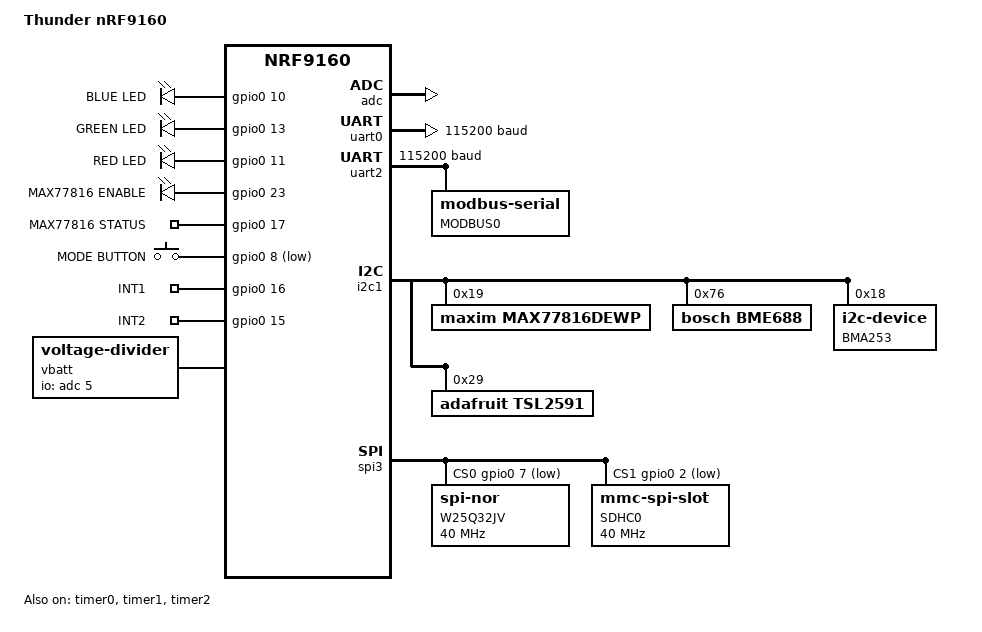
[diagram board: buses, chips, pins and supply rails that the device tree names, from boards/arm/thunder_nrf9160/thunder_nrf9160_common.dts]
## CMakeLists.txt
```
#
# Copyright (c) 2020 Nordic Semiconductor
#
# SPDX-License-Identifier: LicenseRef-Nordic-5-Clause
#

cmake_minimum_required(VERSION 3.20.0)

list(APPEND BOARD_ROOT ${CMAKE_CURRENT_SOURCE_DIR})

# MCUboot related 
# Put the pem certificate under "'your build enviroment'/bootloader/mucboot"
# i.e "/opt/nordic/ncs/v1.9.0/bootloader/mcuboot"
list(APPEND mcuboot_OVERLAY_CONFIG "${CMAKE_CURRENT_SOURCE_DIR}/mcuboot.conf")

set(CONF_FILE "${CMAKE_CURRENT_SOURCE_DIR}/prj.conf")
# Uncomment the line below when provisioning a device
#list(APPEND CONF_FILE "${CMAKE_CURRENT_SOURCE_DIR}/prj-provisioning.conf")

find_package(Zephyr REQUIRED HINTS $ENV{ZEPHYR_BASE})
project(levaware_thunder)

# Levaware Citysage application
target_sources(app PRIVATE src/main.c)
# Levaware Citysage application END

zephyr_include_directories(src)

target_include_directories(app PRIVATE
    ${CMAKE_CURRENT_SOURCE_DIR}/src
    ${CMAKE_CURRENT_SOURCE_DIR}/connectors
    ${CMAKE_CURRENT_SOURCE_DIR}/encoding
    ${CMAKE_CURRENT_SOURCE_DIR}/config
    ${CMAKE_CURRENT_SOURCE_DIR}/cell
    ${CMAKE_CURRENT_SOURCE_DIR}/src/sensors
    ${CMAKE_CURRENT_SOURCE_DIR}/src/power_mgr
    # ${CMAKE_CURRENT_SOURCE_DIR}/src/apps
    ${CMAKE_CURRENT_SOURCE_DIR}/src/bsp)



# Application directories
add_subdirectory(src/sensors)
add_subdirectory(src/cell)
add_subdirectory(src/connectors)
add_subdirectory(src/encoding)
add_subdirectory(src/config)
add_subdirectory(src/apps)
add_subdirectory(src/bsp)
```

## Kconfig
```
#
# Copyright (c) 2020 Nordic Semiconductor ASA
#
# SPDX-License-Identifier: LicenseRef-Nordic-5-Clause
#

menu "Citysage Levaware Thunder Settings"

config FIRMWARE_VERSION
	string "Firmware version: v<yymmdd>.<rev>"
	default "v000000.00"

config GIT_COMMIT
	string "First 8 hex characters of the git commit hash used to build binary"
    default "NO_COMMIT"

config PUBLICATION_INTERVAL_SECONDS
	int "Interval in seconds that the app will publish data"
	default 60

config CONNECTION_RETRY_TIMEOUT_SECONDS
	int "Number of seconds between each AWS IoT connection retry"
	default 30

config TELEMETRY_PAYLOAD_BUFFER_SIZE
	int "Telemetry JSON payload buffer size"
	default 256

config FOTA_LOG_NAME
	string "Full name of FOTA log"
	default "fota.json"

config PROD_TEST
	bool "Build configuration for Production Testing"
	# default false
	select AT_HOST_LIBRARY
	select UART_INTERRUPT_DRIVEN

endmenu

# rsource "src/drivers/sensor/bme688/Kconfig"
# source "C:/ncs/v1.9.0/nrf/lib/at_host/Kconfig" # or manually add env. variable for the path

menu "Zephyr Kernel"
source "Kconfig.zephyr"
endmenu
```

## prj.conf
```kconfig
#
# Copyright (c) 2020 Nordic Semiconductor ASA
#
# SPDX-License-Identifier: LicenseRef-Nordic-5-Clause
#
# General config

# Firmware version string v<major>.<minor>.<build>
# During development/refactoring we will use numbers: v0.000.xx where xx is increated at key milestones
CONFIG_FIRMWARE_VERSION="v0.000.02"

# Enable Zephyr application to be booted by MCUboot
# MCUBOOT
CONFIG_BOOTLOADER_MCUBOOT=y
CONFIG_MCUBOOT_IMG_MANAGER=y

CONFIG_DEBUG=y
CONFIG_REBOOT=y
# RESET_ON_FATAL_ERROR is y by default if !DEBUG
CONFIG_RESET_ON_FATAL_ERROR=y
# CONFIG_DEBUG_OPTIMIZATIONS=y
# CONFIG_DEBUG_THREAD_INFO=y

# Image manager
CONFIG_IMG_MANAGER=y
CONFIG_FLASH=y
CONFIG_IMG_ERASE_PROGRESSIVELY=y

# Shell configurations
CONFIG_PRINTK=y
CONFIG_SHELL=y
CONFIG_SHELL_BACKEND_SERIAL=y
CONFIG_SHELL_MINIMAL=n
# CONFIG_SHELL_STACK_SIZE=1024
# CONFIG_USE_SEGGER_RTT=y
# CONFIG_SHELL_CMDS=y
# CONFIG_SHELL_CMDS_RESIZE=y
# CONFIG_SHELL_TAB=y
# CONFIG_SHELL_HISTORY=y

# AT Shell 
CONFIG_AT_SHELL=y
# disable * and ? wildcards for at commands
CONFIG_SHELL_WILDCARD=n

# NEWLIB C
CONFIG_NEWLIB_LIBC=y
CONFIG_NEWLIB_LIBC_FLOAT_PRINTF=y

# Modem library
CONFIG_NRF_MODEM_LIB=y

# Modem
CONFIG_MODEM_INFO=y

# AT Host
CONFIG_UART_INTERRUPT_DRIVEN=y
# CONFIG_AT_HOST_LIBRARY=y

# Modbus
CONFIG_MODBUS=y
CONFIG_MODBUS_SERIAL=y
CONFIG_MODBUS_ROLE_CLIENT=y

# Network
CONFIG_NETWORKING=y
CONFIG_NET_NATIVE=n
CONFIG_NET_SOCKETS_OFFLOAD=y
CONFIG_NET_SOCKETS=y
CONFIG_NET_SOCKETS_POSIX_NAMES=y

# LTE link control
CONFIG_LTE_LINK_CONTROL=y
CONFIG_LTE_AUTO_INIT_AND_CONNECT=n
CONFIG_LTE_NETWORK_TIMEOUT=120

# LTE Mode selection. Only Cat-M at this time. 

CONFIG_LTE_NETWORK_MODE_LTE_M=y

# Due to imature nature of NB-IoT at this time and reports from Eseye connectivity supplier, we wanted to disable NB-IoT
# However this causes challanges with the FCC and PTCRB certification process as they don't want any RATs disabled from how the 
# Nordic module was originally certified. For certification we need to re-enable NB-IoT but afterwords, we might want to disable
CONFIG_LTE_NETWORK_MODE_LTE_M_NBIOT=y
# CONFIG_LTE_NETWORK_USE_FALLBACK=y
CONFIG_LTE_MODE_PREFERENCE_LTE_M=y
# CONFIG_LTE_MODE_PREFERENCE_NBIOT=y



# Only enable bands: 2,4,12,13 This will provide coverage for the USA and Canada (Rogers, Telus, AT&T and Verizon). 
# The rational: Limiting the bands will allow the modem to find a suitable network faster the first time. 
# After running for a few days, the modem writes it's band history to NV and will remember 
# the previous bands used which shortens the registration time. We can also remove this capability if 
# are ok with long registration times for the first power up. Depending on our final unit 
# test process, removing this logic would likely increase our test times. I am putting in for now.  

# First enable modem to disable the extra/unused frequency bands.
CONFIG_LTE_LOCK_BANDS=y
# For USA/Canada market, we only need/enable bands 2, 4, 5, 12, 13 (it's a bitmask starting at Band #1 in the LSB)
# CONFIG_LTE_LOCK_BAND_MASK="1100000011010"

# To enable testing in the UK by EsEye, we think we should enable bands 1, 3, 7, 20. 
# Note: After Eseye testing is complete, we might need to disable these bands given we aren't performing CE Mark regualtory for Europe and no market
CONFIG_LTE_LOCK_BAND_MASK="10000001100001011111"

# Enable the PDP Context library. We have now added a feature in modem.c to automatically set the APN and the PDN_FAMILY 
# so we have disabled the default APN settings for Rogers OR Eseye SIM cards. 
CONFIG_PDN=y
# CONFIG_PDN_DEFAULTS_OVERRIDE=y
# CONFIG_PDN_SYS_INIT=y
# CONFIG_PDN_DEFAULT_APN="\"m2minternet.apn\""
# CONFIG_PDN_DEFAULT_APN="\"eseye1\""
# CONFIG_PDN_DEFAULT_FAM_IPV4V6=y

# SMS Configuration
CONFIG_SMS=y

CONFIG_TELEMETRY_PAYLOAD_BUFFER_SIZE=1024
CONFIG_BASE64=y

CONFIG_MQTT_LIB=y
CONFIG_MQTT_LIB_TLS=y   # For aws MQTT TLS

# AWS IoT library
CONFIG_AWS_IOT=y
CONFIG_AWS_IOT_CLIENT_ID_APP=y
CONFIG_AWS_IOT_BROKER_HOST_NAME="a1hxntjfjh5450-ats.iot.ca-central-1.amazonaws.com"
CONFIG_AWS_IOT_SEC_TAG=12345678
CONFIG_AWS_IOT_LOG_LEVEL_DBG=y
CONFIG_AWS_IOT_AUTO_DEVICE_SHADOW_REQUEST=n
CONFIG_AWS_IOT_APP_SUBSCRIPTION_LIST_COUNT=2
CONFIG_AWS_IOT_TOPIC_UPDATE_DELTA_SUBSCRIBE=y
CONFIG_AWS_IOT_LAST_WILL=y
CONFIG_AWS_IOT_TOPIC_GET_ACCEPTED_SUBSCRIBE=y
CONFIG_AWS_IOT_TOPIC_GET_REJECTED_SUBSCRIBE=y
#CONFIG_AWS_IOT_MQTT_PAYLOAD_BUFFER_LEN=2048
CONFIG_AWS_IOT_CLIENT_ID_MAX_LEN=50

# MQTT - Maximum MQTT keepalive timeout specified by AWS IoT Core
CONFIG_MQTT_KEEPALIVE=1200

CONFIG_SNTP=y

# Date Time library
CONFIG_DATE_TIME=y
CONFIG_DATE_TIME_NTP=n
CONFIG_DATE_TIME_MODEM=y
CONFIG_DATE_TIME_AUTO_UPDATE=y
# CONFIG_DATE_TIME_UPDATE_INTERVAL_SECONDS=7200


# Heap and stacks
CONFIG_HEAP_MEM_POOL_SIZE=8192
CONFIG_MAIN_STACK_SIZE=4096
CONFIG_SYSTEM_WORKQUEUE_STACK_SIZE=2048

CONFIG_FPU=y
CONFIG_FPU_SHARING=y

# AWS FOTA
CONFIG_AWS_FOTA=y
CONFIG_AWS_FOTA_DOWNLOAD_SECURITY_TAG=12345678
CONFIG_FOTA_DOWNLOAD=y
CONFIG_DFU_TARGET=y
CONFIG_DFU_TARGET_STREAM_SAVE_PROGRESS=y

# Settings
CONFIG_SETTINGS=y
CONFIG_SETTINGS_NVS=y

# Non-volatile Storage
CONFIG_NVS=y

# CJSON
CONFIG_CJSON_LIB=y

# Download client (needed by AWS FOTA)
CONFIG_DOWNLOAD_CLIENT=y
CONFIG_DOWNLOAD_CLIENT_STACK_SIZE=4096

####### THUNDER

CONFIG_THREAD_NAME=y

CONFIG_CMSIS_DSP=y
CONFIG_CMSIS_DSP_SUPPORT=y
CONFIG_CMSIS_DSP_FASTMATH=y
CONFIG_CMSIS_DSP_COMPLEXMATH=y
CONFIG_CMSIS_DSP_STATISTICS=y
CONFIG_CMSIS_DSP_TRANSFORM=y
CONFIG_CMSIS_DSP_TABLES_ALL_FFT=n
CONFIG_CMSIS_DSP_TABLES_RFFT_FAST_F32_1024=y
# CONFIG_CMSIS_DSP_TABLES_RFFT_FAST_F32_2048=y

# Filesystem
CONFIG_SPI=y
CONFIG_SPI_ASYNC=y
CONFIG_SPI_NOR=y
CONFIG_SPI_NOR_FLASH_LAYOUT_PAGE_SIZE=4096
CONFIG_DISK_ACCESS=y
CONFIG_DISK_DRIVER_SDMMC=y
CONFIG_SDMMC_OVER_SPI=y

# Enable flash operations.
CONFIG_FLASH_MAP=y
CONFIG_FLASH_PAGE_LAYOUT=y

# Enable the LittleFS file system.
CONFIG_FILE_SYSTEM=y
CONFIG_FILE_SYSTEM_LITTLEFS=y
# CONFIG_FILE_SYSTEM_SHELL=y

# Partition manager settings
CONFIG_PM_EXTERNAL_FLASH_MCUBOOT_SECONDARY=n

# logging configurations
CONFIG_LOG=y
CONFIG_LOG_DEFAULT_LEVEL=4
CONFIG_NRF_CLOUD_LOG_LEVEL_DBG=y

# logging configurations when debugging
# CONFIG_LOG_BACKEND_UART=y
CONFIG_LOG_PRINTK=y
CONFIG_LOG_MODE_IMMEDIATE=y

CONFIG_I2C=y
CONFIG_SENSOR=y

# Temp, Pressure, Humidity and gas sensor
# CONFIG_BME688=y
# CONFIG_BME688_TEMP_OVER_4X=y
# CONFIG_BME688_HUMIDITY_OVER_16X=y

# Accelerometer
# CONFIG_BMA280=y
# CONFIG_BMA280_TRIGGER_GLOBAL_THREAD=y
# CONFIG_BMA280_PMU_RANGE_2G=y
# # 15.63Hz
# CONFIG_BMA280_PMU_BW_2=y

# battery / VSYS
CONFIG_ADC=y

CONFIG_STATS=y
CONFIG_STATS_SHELL=y

# Zephyr Device Power Management
CONFIG_PM=y
# Required to disable default behavior of deep sleep on timeout
CONFIG_PM_DEVICE=y

# configure to Enable Modem sleep notifications
CONFIG_LTE_LC_MODEM_SLEEP_NOTIFICATIONS=y   # see if this is working

## PSM
# CONFIG_UDP_PSM_ENABLE=y

#PDM
CONFIG_NRFX_PDM=y
```

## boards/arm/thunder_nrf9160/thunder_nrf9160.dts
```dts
/*
 * Copyright (c) 2018-2020 Nordic Semiconductor ASA
 *
 * SPDX-License-Identifier: Apache-2.0
 */

/dts-v1/;
#include <nordic/nrf9160_sica.dtsi>
#include "thunder_nrf9160_common.dts"

/ {
	chosen {
		zephyr,sram = &sram0_s;
		zephyr,flash = &flash0;
		zephyr,code-partition = &slot0_partition;
		zephyr,sram-secure-partition = &sram0_s;
		zephyr,sram-non-secure-partition = &sram0_ns;
	};
};
```

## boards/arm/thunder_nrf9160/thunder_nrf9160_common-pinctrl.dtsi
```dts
/*
 * Copyright (c) 2018-2020 Nordic Semiconductor ASA
 *
 * SPDX-License-Identifier: Apache-2.0
 */

&pinctrl {
	uart0_default: uart0_default {
		group1 {
			psels = <NRF_PSEL(UART_TX, 0, 27)>,
				<NRF_PSEL(UART_RX, 0, 26)>;
		};
	};

	uart0_sleep: uart0_sleep {
		group1 {
			psels = <NRF_PSEL(UART_TX, 0, 27)>,
				<NRF_PSEL(UART_RX, 0, 26)>;
			low-power-enable;
		};
	};

	uart2_default: uart2_default {
		group1 {
			psels = <NRF_PSEL(UART_TX, 0, 25)>,
				<NRF_PSEL(UART_RX, 0, 24)>;
		};
	};

	uart2_sleep: uart2_sleep {
		group1 {
			psels = <NRF_PSEL(UART_TX, 0, 25)>,
				<NRF_PSEL(UART_RX, 0, 24)>;
			low-power-enable;
		};
	};

	i2c1_default: i2c1_default {
		group1 {
			psels = <NRF_PSEL(TWIM_SDA, 0, 1)>,
				<NRF_PSEL(TWIM_SCL, 0, 0)>;
		};

		group2 {
			psels = <NRF_PSEL(TWIM_SDA, 0, 20)>,
				<NRF_PSEL(TWIM_SCL, 0, 19)>;
		};
	};


	i2c1_sleep: i2c1_sleep {
		group1 {
			psels = <NRF_PSEL(TWIM_SDA, 0, 1)>,
				<NRF_PSEL(TWIM_SCL, 0, 0)>;
			low-power-enable;
		};
	};

	spi3_default: spi3_default {
		group1 {
			psels = <NRF_PSEL(SPIM_SCK, 0, 4)>,
				<NRF_PSEL(SPIM_MOSI, 0, 5)>,
				<NRF_PSEL(SPIM_MISO, 0, 6)>;
		};
	};

	spi3_sleep: spi3_sleep {
		group1 {
			psels = <NRF_PSEL(SPIM_SCK, 0, 4)>,
				<NRF_PSEL(SPIM_MOSI, 0, 5)>,
				<NRF_PSEL(SPIM_MISO, 0, 6)>;
			low-power-enable;
		};
	};

};
```

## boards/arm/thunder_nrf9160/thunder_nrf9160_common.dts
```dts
/*
 * Copyright (c) 2018-2020 Nordic Semiconductor ASA
 *
 * SPDX-License-Identifier: Apache-2.0
 */

/ {
	model = "Thunder nRF9160";
	compatible = "reliance,thunder-nrf9160";

	chosen {
		zephyr,console = &uart0;	
		zephyr,shell-uart = &uart0;
		zephyr,uart-mcumgr = &uart0;
		nordic,pm-ext-flash = &w25q32jv;
	};

	leds {
		compatible = "gpio-leds";
		blue_led: led_0 {
			gpios = <&gpio0 10 GPIO_ACTIVE_HIGH>;
			label = "BLUE LED";
		};
		green_led: led_1 {
			gpios = <&gpio0 13 GPIO_ACTIVE_HIGH>;
			label = "GREEN LED";
		};
		red_led: led_2 {
			gpios = <&gpio0 11 GPIO_ACTIVE_HIGH>;
			label = "RED LED";
		};
	};

	sys_reg_en
	{
		compatible = "gpio-leds";
		max77816_en: reg_en_1 {
			gpios = <&gpio0 23 GPIO_ACTIVE_HIGH>;
			label = "MAX77816 ENABLE";
		};
	};

	sys_reg_state
	{
		compatible = "gpio-keys";
		max77816_state: reg_status_1 {
			gpios = <&gpio0 17 GPIO_ACTIVE_HIGH>;
			label = "MAX77816 STATUS";
		};	
	};


	buttons {
		compatible = "gpio-keys";
		mode_btn: button_0 {
			gpios = <&gpio0 8 GPIO_ACTIVE_LOW>;
			label = "MODE BUTTON";
		};
	};

	bma2_int_gpios {
		compatible = "gpio-keys";
		bma2_int1: int1 {
			gpios = <&gpio0 16 (GPIO_ACTIVE_HIGH | GPIO_PULL_DOWN)>;
			label = "INT1";
		};
		bma2_int2: int2 {
			gpios = <&gpio0 15 (GPIO_ACTIVE_HIGH | GPIO_PULL_DOWN)>;
			label = "INT2";
		};
	};

	/* These aliases are provided for compatibility with samples */
	aliases {
		led0 = &blue_led;
		led1 = &green_led;
		led2 = &red_led;
		sw0 = &mode_btn;
		bootloader-led0 = &blue_led;
		ext-reg-en = &max77816_en;
		ext-reg-status = &max77816_state;
	};
};

&adc {
	status = "okay";
};

&gpiote {
	status = "okay";
};

&gpio0 {
	status = "okay";
};

/*used mainly for console, shell, (optional, can use uart1 instead)AT commands*/
&uart0 {
	compatible = "nordic,nrf-uarte";
	status = "okay";
	// label = "UART0";
	current-speed = <115200>;
	pinctrl-0 = <&uart0_default>;
	pinctrl-1 = <&uart0_sleep>;
	pinctrl-names = "default", "sleep";
};

/*used mainly for external sensors*/
&uart2 {
	compatible = "nordic,nrf-uarte";
	// label = "UART2";
	status = "okay";
	current-speed = <115200>;
	pinctrl-0 = <&uart2_default>;
	pinctrl-1 = <&uart2_sleep>;
	pinctrl-names = "default", "sleep";

	modbus_rtu: modbus_rtu {
		compatible = "zephyr,modbus-serial";
		label = "MODBUS0";
	};
};

/*on-board sensors & utilities*/
/*Always set the pins to sensor i2c not to the utilities otherwise the sensor driver will fail to initialize after startup*/
&i2c1 {
	compatible = "nordic,nrf-twim";
	// label = "I2C1";
	status = "okay";
	pinctrl-0 = <&i2c1_default>;
	pinctrl-1 = <&i2c1_sleep>;
	pinctrl-names = "default", "sleep";
	
	max77816dewp@19 {
		compatible = "maxim,max77816dewp";
		label = "MAX77816DEWP";
		reg = <0x19>;
	};

	bme688@76 {
		compatible = "bosch,bme688";
		label = "BME688";
		reg = <0x76>;
	};

	bma253: bma253@18 {
		compatible = "i2c-device";
		status = "okay";
		label = "BMA253";
		reg = <0x18>;
	};
	tsl2591: tsl2591@29 {
		compatible = "adafruit,tsl2591";
		status = "okay";
		label = "TSL2591";
		reg = <0x29>;
	};
	
};

&spi3 {
	compatible = "nordic,nrf-spim";
	// label = "SPI3";
	status = "okay";
	pinctrl-0 = <&spi3_default>;
	pinctrl-1 = <&spi3_sleep>;
	pinctrl-names = "default", "sleep";
	cs-gpios = 	< &gpio0 7 GPIO_ACTIVE_LOW >,
				< &gpio0 2 (GPIO_ACTIVE_LOW | GPIO_PULL_UP) >;
	// miso-pull-up;
	w25q32jv: w25q32jv@0 {
		compatible = "jedec,spi-nor";
		label = "W25Q32JV";
		reg = < 0 >;
		spi-max-frequency = < 40000000 >;
		size = < 0x2000000 >;
		has-dpd;
		t-enter-dpd = < 3000 >;
		t-exit-dpd = < 30000 >;
		jedec-id = [ ef 40 16  ];
	};
	sdhc0: sdhc@1 {
		compatible = "zephyr,mmc-spi-slot";
		reg = < 1 >;
		status = "okay";
		label = "SDHC0";
		spi-max-frequency = <40000000>;
	};
};

&timer0 {
	status = "okay";
};

&timer1 {
	status = "okay";
};

&timer2 {
	status = "okay";
};

&flash0 {

	partitions {
		compatible = "fixed-partitions";
		#address-cells = <1>;
		#size-cells = <1>;

		boot_partition: partition@0 {
			label = "mcuboot";
			reg = <0x00000000 0x10000>;
		};
		slot0_partition: partition@10000 {
			label = "image-0";
		};
		slot0_ns_partition: partition@40000 {
			label = "image-0-nonsecure";
		};
		slot1_partition: partition@80000 {
			label = "image-1";
		};
		slot1_ns_partition: partition@b0000 {
			label = "image-1-nonsecure";
		};
		scratch_partition: partition@f0000 {
			label = "image-scratch";
			reg = <0x000f0000 0xa000>;
		};
		storage_partition: partition@fa000 {
			label = "storage";
			reg = <0x000fa000 0x00006000>;
		};
	};
};

/ {
	reserved-memory {
		#address-cells = <1>;
		#size-cells = <1>;
		ranges;

		sram0_s: image_s@20000000 {
			/* Secure image memory */
		};

		sram0_modem: image_modem@20010000 {
			/* Modem (shared) memory */
		};

		sram0_ns: image_ns@2001A000 {
			/* Non-Secure image memory */
		};
	};
};

/ { 
	vbatt {
		compatible = "voltage-divider";
		io-channels = <&adc 5>;
		output-ohms = <100000>;
		full-ohms = <(100000 + 100000)>;
		/*power-gpios = <&gpio0 25 GPIO_ACTIVE_HIGH>;*/
	};
};


/* Include partition configuration file */
#include "thunder_nrf9160_partition_conf.dts"
#include "thunder_nrf9160_common-pinctrl.dtsi"
```

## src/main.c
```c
/**
 * @brief: 	main.c - File containing Main entry point (startup after boot) and associated functions
 *
 * @notes: 	Runs in the context of OS startup thread
 * 
 * 			Copyright (c) 2023 Reliance Foundry Co. Ltd.
 *
 */

// System/Nordic include files
#include <zephyr/zephyr.h>
#include <zephyr/logging/log.h>
#include <modem/modem_info.h>

// Application include files
#include "config/config.h"				// configuration datastore
#include "encoding/aws_encoding.h"		// aws_encoding
#include "cell/lte_connect_mgr.h"		// LTE connection manager
#include "connectors/aws_connector.h"	// AWS connector 
#include "bsp/led.h"

LOG_MODULE_REGISTER(main); // set the logging package name

/** 
* @brief	main - main application function called from OS at start-up 
*
* @param	none 
*		
* @return	never returns
*
* @note		Aborts if function fails to initialize or start properly
*    
*/
void main(void)
{

	LOG_WRN("Levaware Gen3 started, version: %s", CONFIG_FIRMWARE_VERSION);

	/* Skip the sensor init 
	onboard_sensor_init();
    */

	// Init the LED package and turn them all off
	led_init();
	led_set_state(BLUE_LED, LED_OFF);
	led_set_state(GREEN_LED, LED_OFF);
	led_set_state(RED_LED, LED_OFF);


	/* init Nordics modem info system as that is required to be functional by config_init
	* If you fail to do this before config_init() then you will fail to get information from the modem (example: the IMEI) 
	*/
	modem_info_init();

	// init the config datastore as the datastore is required by the rest of the system
	config_init();

	// Initialize the Encode/Decode package
	encoding_init();

	/*
	* Initialize and start the LTE modem.
	* note: currently this function blocks until the system starts up. This is procedure that Nordic tends to 
	* 		use and demos but we could change this. The system needs to handle LTE connectivity going up and down anyway 
	*		so just handle in a generalized way
	*/ 
	lte_connect_init();
	LOG_DBG("LTE system started up");

	//turn uarts off
	
	/* 
	* Init and start-up the AWS IoT connector package
	*/
	aws_connector_init();

	/* 
	* One day, start up the application threads here
	*/
	
	/*
	* All done, just add some hack code to wake up and periodically put out a keep alive string
	*/
	while (1)
	{
		k_msleep(60 * 1000);					// sleep for 60 seconds
		
		// get the current time so we can output it
		// err = date_time_now(&current_time);
		LOG_DBG("Main loop pulse");

	}

}
```
